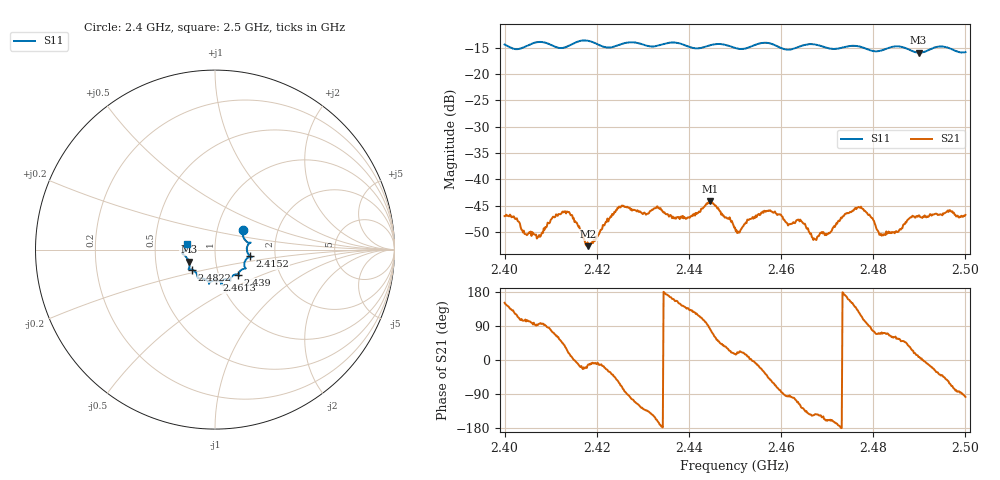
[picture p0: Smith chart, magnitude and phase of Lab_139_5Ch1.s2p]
# Hz S RI R
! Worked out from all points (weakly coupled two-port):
!   601 points, 2.4 GHz to 2.5 GHz, reference 50 ohm
!   highest |S21| = -44.21 dB at 2.4447 GHz (marker M1); lowest = -52.7 dB at 2.4182 GHz (marker M2)
!   lowest |S11| = -15.9 dB at 2.4898 GHz (marker M3), VSWR 1.38, Z = 37 - j5.03 ohm
!   |S11| at or under -10 dB: start of sweep to end of sweep
!   S12 and S22 are empty: the file has one direction only
!   S11 on the Smith chart (normalised r, x): 2.4 GHz: 1.33, +0.31; 2.4152 GHz: 1.48, -0.11; 2.439 GHz: 1.24, -0.36; 2.4613 GHz: 0.96, -0.34; 2.4822 GHz: 0.76, -0.17; 2.5 GHz: 0.72, +0.05
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2.4e9  0.156 0.1114  -0.0039 0.00217  0 0  0 0
2.407333e9  0.1985 0.0385  -0.000224 0.00285  0 0  0 0
2.412167e9  0.1772 0.00293  0.00294 0.00362  0 0  0 0
2.415167e9  0.1946 -0.0363  0.00393 -5.27e-05  0 0  0 0
2.416667e9  0.2041 -0.0421  0.00304 -0.000879  0 0  0 0
2.418167e9  0.2035 -0.04  0.00227 -0.000468  0 0  0 0
2.425e9  0.1655 -0.0956  0.00253 -0.00485  0 0  0 0
2.4305e9  0.153 -0.1098  -0.00317 -0.00353  0 0  0 0
2.433333e9  0.1329 -0.1318  -0.00511 -0.00151  0 0  0 0
2.439e9  0.1285 -0.139  -0.0034 0.00277  0 0  0 0
2.444667e9  0.0848 -0.1686  0.00108 0.00606  0 0  0 0
2.45e9  0.0691 -0.1638  0.00334 0.000973  0 0  0 0
2.456833e9  0.0394 -0.1947  0.00389 -0.00314  0 0  0 0
2.461333e9  0.00744 -0.1708  -0.000405 -0.0038  0 0  0 0
2.464167e9  -0.0281 -0.1821  -0.00204 -0.0036  0 0  0 0
2.466667e9  -0.0335 -0.1902  -0.00237 -0.00154  0 0  0 0
2.470333e9  -0.0461 -0.1701  -0.00288 -0.00113  0 0  0 0
2.477e9  -0.0951 -0.1566  -0.003 0.0045  0 0  0 0
2.482167e9  -0.1282 -0.1119  0.000936 0.00278  0 0  0 0
2.483333e9  -0.1395 -0.1104  0.00124 0.00294  0 0  0 0
2.489833e9  -0.1457 -0.0663  0.00449 0.000609  0 0  0 0
2.5e9  -0.1586 0.0336  -0.000585 -0.00455  0 0  0 0
